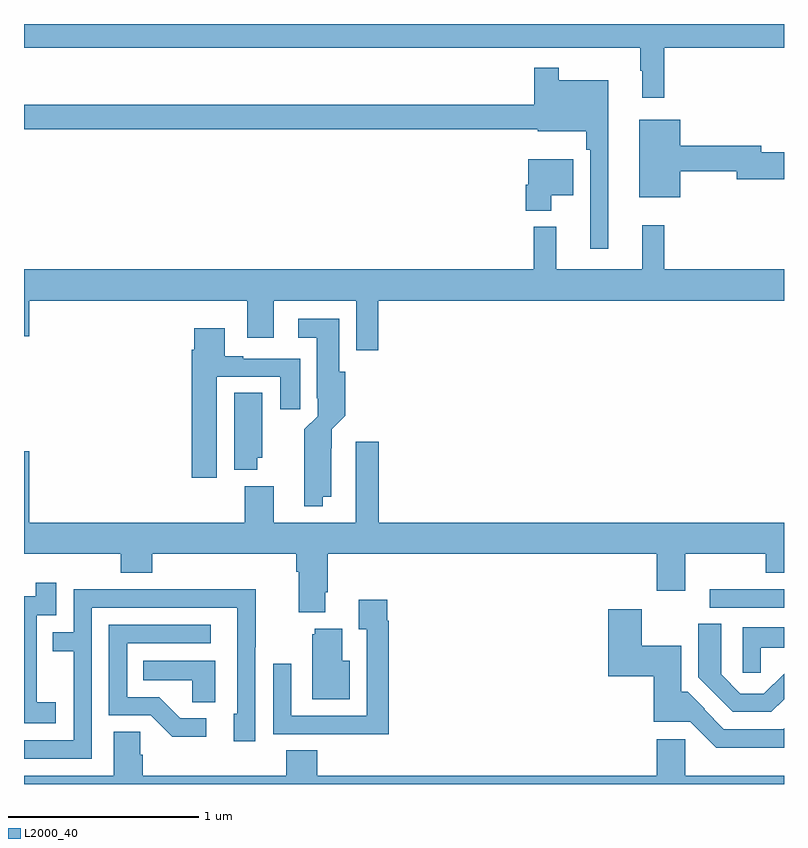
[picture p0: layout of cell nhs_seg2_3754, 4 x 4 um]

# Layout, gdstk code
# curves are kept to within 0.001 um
import gdstk
lib = gdstk.Library(unit=1e-6, precision=1e-09)
def R(c, l, rs):  # rectangles x0, y0, x1, y1
    for r in rs: c.add(gdstk.rectangle(r[:2], r[2:], *l))
def P(c, l, *ps):  # polygons
    for p in ps: c.add(gdstk.Polygon(p, *l))
L2000_40 = (2000, 40)

nhs_seg2_3754 = lib.new_cell('nhs_seg2_3754')
R(nhs_seg2_3754, L2000_40, [(312.609,604.728,313,604.824)])
P(nhs_seg2_3754, L2000_40, [(312.371,607.676),(313,607.676),(313,607.8),(309,607.8),(309,607.676),(312.243,607.676),(312.243,607.553),(312.254,607.553),(312.254,607.413),(312.371,607.413)],
  [(312.076,607.504),(311.815,607.504),(311.815,607.57),(311.686,607.57),(311.686,607.375),(309,607.375),(309,607.246),(311.705,607.246),(311.705,607.235),(311.959,607.235),(311.959,607.139),(311.979,607.139),(311.979,606.618),(312.076,606.618)],
  [(312.454,607.024),(312.752,607.024),(312.752,606.982),(313,606.982),(313,607.124),(312.88,607.124),(312.88,607.16),(312.454,607.16),(312.454,607.297),(312.239,607.297),(312.239,606.887),(312.454,606.887)],
  [(311.776,606.899),(311.89,606.899),(311.89,607.087),(311.654,607.087),(311.654,606.954),(311.642,606.954),(311.642,606.818),(311.776,606.818)],
  [(310.865,606.344),(313,606.344),(313,606.508),(312.371,606.508),(312.371,606.742),(312.254,606.742),(312.254,606.508),(311.801,606.508),(311.801,606.733),(311.683,606.733),(311.683,606.508),(309,606.508),(309,606.156),(309.028,606.156),(309.028,606.344),(310.175,606.344),(310.175,606.15),(310.315,606.15),(310.315,606.344),(310.749,606.344),(310.749,606.084),(310.865,606.084)],
  [(310.573,605.312),(310.618,605.312),(310.619,605.666),(310.691,605.738),(310.691,605.97),(310.66,605.97),(310.66,606.25),(310.443,606.25),(310.443,606.149),(310.541,606.149),(310.541,605.83),(310.545,605.83),(310.545,605.736),(310.475,605.666),(310.476,605.261),(310.573,605.261)],
  [(310.015,605.943),(310.349,605.943),(310.349,605.772),(310.453,605.772),(310.453,606.039),(310.153,606.039),(310.153,606.052),(310.057,606.052),(310.057,606.199),(309.896,606.199),(309.896,606.086),(309.884,606.086),(309.884,605.412),(310.015,605.412)],
  [(310.228,605.517),(310.255,605.517),(310.255,605.858),(310.106,605.858),(310.106,605.453),(310.228,605.453)],
  [(310.585,604.81),(310.598,604.81),(310.598,605.012),(312.329,605.012),(312.329,604.818),(312.481,604.818),(312.481,605.012),(312.904,605.012),(312.904,604.913),(313,604.913),(313,605.176),(310.868,605.176),(310.868,605.602),(310.745,605.602),(310.745,605.176),(310.315,605.176),(310.315,605.368),(310.163,605.368),(310.163,605.176),(309.028,605.176),(309.028,605.551),(309,605.551),(309,605.012),(309.509,605.012),(309.509,604.913),(309.674,604.913),(309.674,605.012),(310.433,605.012),(310.433,604.916),(310.445,604.916),(310.445,604.703),(310.585,604.703)],
  [(309.166,604.231),(309.068,604.231),(309.068,604.46),(309.066,604.46),(309.066,604.689),(309.171,604.689),(309.171,604.858),(309.063,604.858),(309.063,604.788),(309,604.788),(309,604.121),(309.166,604.121)],
  [(309.357,604.728),(310.122,604.728),(310.122,604.17),(310.103,604.17),(310.103,604.026),(310.218,604.026),(310.218,604.519),(310.221,604.519),(310.221,604.826),(309.757,604.826),(309.757,604.824),(309.261,604.824),(309.261,604.599),(309.151,604.599),(309.151,604.498),(309.261,604.498),(309.261,604.029),(309,604.029),(309,603.933),(309.357,603.933)],
  [(310.919,604.658),(310.912,604.658),(310.912,604.771),(310.763,604.771),(310.763,604.615),(310.803,604.615),(310.803,604.158),(310.407,604.158),(310.407,604.432),(310.311,604.432),(310.311,604.062),(310.627,604.062),(310.627,604.061),(310.919,604.061)],
  [(313,604.093),(312.996,604.089),(312.684,604.089),(312.579,604.194),(312.582,604.197),(312.494,604.285),(312.46,604.285),(312.46,604.528),(312.252,604.528),(312.252,604.72),(312.074,604.72),(312.074,604.367),(312.314,604.367),(312.314,604.128),(312.507,604.128),(312.643,603.992),(313,603.992)],
  [(313,604.245),(313,604.381),(312.894,604.275),(312.771,604.275),(312.67,604.377),(312.67,604.643),(312.548,604.643),(312.548,604.363),(312.636,604.275),(312.635,604.275),(312.731,604.179),(312.934,604.179)],
  [(309.958,604.146),(309.823,604.146),(309.712,604.257),(309.543,604.257),(309.543,604.542),(309.982,604.542),(309.982,604.638),(309.447,604.638),(309.447,604.161),(309.666,604.161),(309.779,604.049),(309.958,604.049)],
  [(312.878,604.517),(313,604.517),(313,604.624),(312.784,604.624),(312.784,604.386),(312.878,604.386)],
  [(310.714,604.45),(310.675,604.45),(310.675,604.618),(310.529,604.618),(310.529,604.587),(310.517,604.587),(310.517,604.247),(310.714,604.247)],
  [(310.006,604.45),(309.628,604.45),(309.628,604.346),(309.885,604.346),(309.885,604.231),(310.006,604.231)],
  [(310.544,603.977),(310.379,603.977),(310.379,603.844),(309.626,603.844),(309.626,603.953),(309.612,603.953),(309.612,604.076),(309.473,604.076),(309.473,603.844),(309,603.844),(309,603.8),(313,603.8),(313,603.844),(312.479,603.844),(312.479,604.035),(312.329,604.035),(312.329,603.844),(310.544,603.844)])

lib.write_gds('nhs_seg2_3754.gds')
